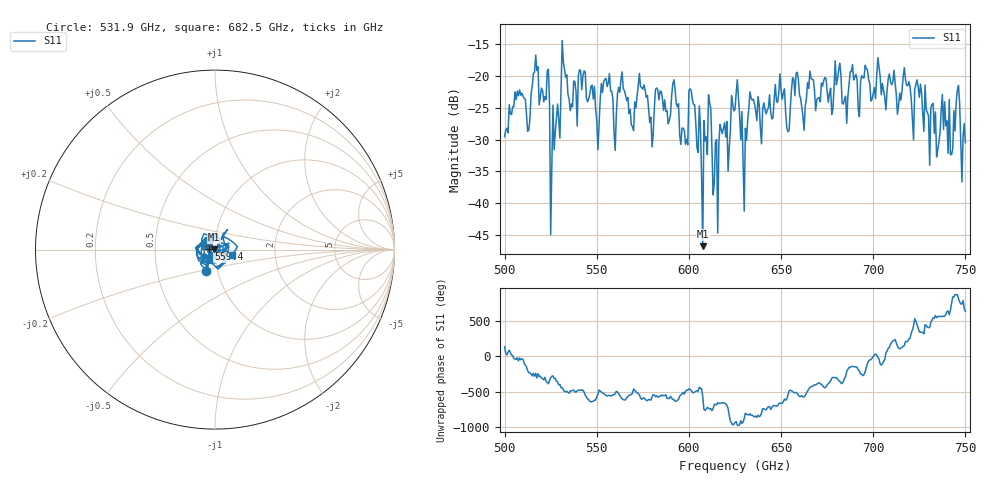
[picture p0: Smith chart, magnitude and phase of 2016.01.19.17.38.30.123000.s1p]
!Created with skrf (http://scikit-rf.org).
# GHz S RI R 50.0
!freq ReS11 ImS11
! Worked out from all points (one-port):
!   401 points, 500 GHz to 750 GHz, reference 50 ohm
!   lowest |S11| = -46.8 dB at 607.5 GHz (marker M1), VSWR 1.01, Z = 49.6 + j0.212 ohm
!   |S11| at or under -10 dB: start of sweep to end of sweep
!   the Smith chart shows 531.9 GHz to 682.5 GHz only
!   S11 on the Smith chart (normalised r, x): 531.9 GHz: 0.88, -0.21; 559.4 GHz: 0.93, +0.00; 682.5 GHz: 1.21, -0.07
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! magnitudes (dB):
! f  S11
! 500 GHz  -29.5
! 506.9 GHz  -22.4
! 513.1 GHz  -28.5
! 516.9 GHz  -16.7
! 523.1 GHz  -19.2
! 526.2 GHz  -24.6
! 531.2 GHz  -14.4
! 531.9 GHz  -17.8
! 559.4 GHz  -28.9
! 562.5 GHz  -22.6
! 568.8 GHz  -27.7
! 573.8 GHz  -21.6
! 579.4 GHz  -26.5
! 593.8 GHz  -24.8
! 598.1 GHz  -30.7
! 601.2 GHz  -22.4
! 607.5 GHz  -46.8
! 610.6 GHz  -23.0
! 614.4 GHz  -30.5
! 625 GHz  -25.2
! 630.6 GHz  -28.2
! 633.8 GHz  -23.5
! 653.8 GHz  -28.8
! 656.2 GHz  -20.3
! 682.5 GHz  -19.9
! 687.5 GHz  -19.3
! 718.8 GHz  -21.5
! 750 GHz  -30.5
